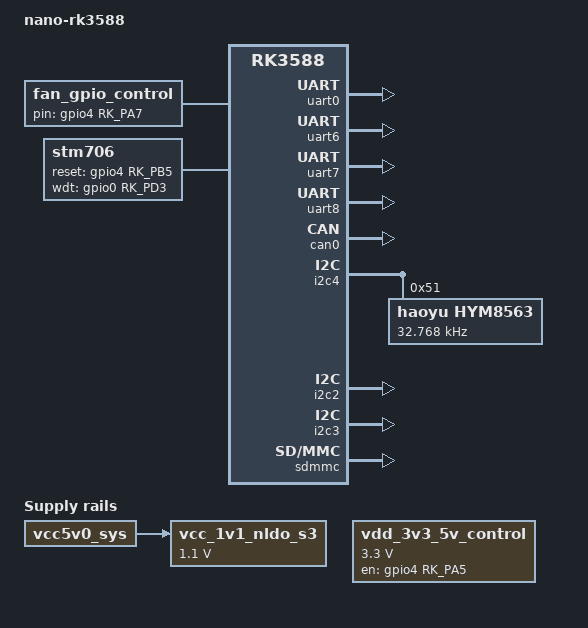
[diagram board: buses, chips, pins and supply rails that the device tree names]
/* board base */
//#include "../rk3588-evb4-lp4-v10-linux.dts"
#include "rp-rk3588-board.dtsi"

#include "rp-tp-i2c6-gt911.dtsi"
#include "rd-rk3588-lcd-gpio.dtsi"
#include "rpdzkj_config.dtsi"

/* usb */
#include "rp-usb-typea-rk3588.dtsi"
#include "rp-usb-host.dtsi"

/* ethernet */
#include "rp-eth-pcie2gmac-rk3588.dtsi"
#include "rp-eth-gmac1.dtsi"

/* pcie */
#include "rp-pcie-power-rk3588.dtsi"
#include "rp-pcie-m2.dtsi"

/* audio */
#include "rp-audio-es8311.dtsi"

/* wifi/bt */
#include "rp-wifi-bt-ap6275p-rk3588.dtsi"

/* hdmi rx */
#include "rp-hdmirx.dtsi"

/* camera */
//#include "rp-camera-dual-ov13855.dtsi"


//#include "rp-lcd-hdmi0.dtsi"        //batch ignore
//#include "rp-lcd-hdmi1.dtsi"          //batch ignore
#include "rp-lcd-multi-hdmi0-hdmi1-dp0.dtsi"

/* lcd */
//#include "rp-lcd-mipi0-5-720-1280-v2-boxTP.dtsi"
//#include "rp-lcd-mipi0-7-720-1280.dtsi"
//#include "rp-lcd-mipi0-8-800-1280-v3.dtsi"
//#include "rp-lcd-mipi0-8-1200-1920.dtsi"
//#include "rp-lcd-mipi0-10-800-1280-v3.dtsi"
//#include "rp-lcd-mipi0-10-1200-1920.dtsi"
//#include "rp-lcd-mipi0-10-1920-1200-jc.dtsi"
//#include "rp-lcd-mipi1-gm8775-lvds-10.1-1024-600.dtsi"
//#include "rp-lcd-mipi1-gm8775-lvds-21-1920-1080.dtsi"

/* quadplex lcd */
//#include "rp-lcd-quadplex-mipi0-5-720-1280-v2-boxTP-mipi1-gm8775-lvds-10.1-1024-600-hdmi0-hdmi1.dtsi"

/ {
    model = "nano-rk3588";
    compatible = "rpdzkj,nano-rk3588", "rockchip,rk3588";

    reserved-memory {
        #address-cells = <2>;
        #size-cells = <2>;
        ranges;
        dma_trans: dma-trans@3c000000 {
            reg = <0x0 0x3c000000 0x0 0x04000000>;
        };
    };

    vcc_1v1_nldo_s3: vcc-1v1-nldo-s3 {
        compatible = "regulator-fixed";
        regulator-name = "vcc_1v1_nldo_s3";
        regulator-always-on;
        regulator-boot-on;
        regulator-min-microvolt = <1100000>;
        regulator-max-microvolt = <1100000>;
        vin-supply = <&vcc5v0_sys>;
    };


    vdd_3v3_5v_control: vdd_3v3_5v_control {
                compatible = "regulator-fixed";
                regulator-name = "vdd_3v3_5v_control";
        regulator-always-on;
                regulator-boot-on;
                regulator-min-microvolt = <3300000>;
                regulator-max-microvolt = <3300000>;
                enable-active-high;
        gpio = <&gpio4 RK_PA5 GPIO_ACTIVE_HIGH>;    //In the uboot phase fixed.c resolves gpio
                gpios = <&gpio4 RK_PA5 GPIO_ACTIVE_HIGH>;
        pinctrl-names = "default";
        pinctrl-0 = <&vdd_control>;         
        };

	fan_gpio_control {
            compatible = "fan_gpio_control";
            gpio-pin = <&gpio4 RK_PA7 GPIO_ACTIVE_HIGH>;
            thermal-zone = "soc-thermal";
            threshold-temp = <60000>; //60C
            running-time = <10000>; //10s
            status = "okay";
        };
	

        rp_power{
                status = "okay";
                compatible = "rp_power";
                rp_not_deep_sleep = <1>;

//#define GPIO_FUNCTION_OUTPUT 0
//#define GPIO_FUNCTION_INPUT 1
//#define GPIO_FUNCTION_IRQ 2
//#define GPIO_FUNCTION_FLASH 3
//#define GPIO_FUNCTION_OUTPUT_CTRL 4

                //fan {   
                //        gpio_num = <&gpio4 RK_PA7 GPIO_ACTIVE_HIGH>;
                //        gpio_function = <4>;
                //};

                led {  
                        gpio_num = <&gpio4 RK_PA6 GPIO_ACTIVE_HIGH>;
                        gpio_function = <3>;
                };

                usb-host-power {  
                        gpio_num = <&gpio2 RK_PC1 GPIO_ACTIVE_HIGH>;
                        gpio_function = <4>;
                };

                otg-power {
                      gpio_num = <&gpio1 RK_PA2 GPIO_ACTIVE_HIGH>;
                      gpio_function = <4>;
                };
 
                usb-hub-reset {  
                        gpio_num = <&gpio3 RK_PB2 GPIO_ACTIVE_HIGH>;
                        gpio_function = <4>;
                };
        
        vdd-4g {   //4g enable
            gpio_num = <&gpio3 RK_PD4 GPIO_ACTIVE_HIGH>;
            gpio_function = <4>;
        };
        
        VDD_USB2_0 {
            gpio_num = <&gpio1 RK_PB1 GPIO_ACTIVE_HIGH>;
                        gpio_function = <4>;
        };

        VDD_USB2_1 {
                        gpio_num = <&gpio1 RK_PB2 GPIO_ACTIVE_HIGH>;
                        gpio_function = <4>;
                };
        
        spk_en {       //spk enable
                        gpio_num = <&gpio4 RK_PB6 GPIO_ACTIVE_HIGH>;
                        gpio_function = <4>;
                };
                spk_mute {       //spk mute
                        gpio_num = <&gpio4 RK_PB4 GPIO_ACTIVE_LOW>;
                        gpio_function = <4>;
                };     
    };

        rp_gpio{
                status = "okay";
                compatible = "rp_gpio";

                gpio4b2 {
                  gpio_num = <&gpio4 RK_PB2 GPIO_ACTIVE_HIGH>;
                  gpio_function = <0>;
                };

                gpio4b3 {
                  gpio_num = <&gpio4 RK_PB3 GPIO_ACTIVE_HIGH>;
                  gpio_function = <0>;
                };

        vdd5v_uart {    
            gpio_num = <&gpio2 RK_PB6 GPIO_ACTIVE_HIGH>;
                        gpio_function = <0>;        
        };
        
        vdd3v3_uart {
            gpio_num = <&gpio1 RK_PC6 GPIO_ACTIVE_HIGH>;
                        gpio_function = <0>;
        };
        };
    
    stm706 {
                status = "okay";
                compatible = "stm706";
                reset_gpio = <&gpio4 RK_PB5 GPIO_ACTIVE_HIGH>;
                wdt_gpio = <&gpio0 RK_PD3 GPIO_ACTIVE_HIGH>;
		pinctrl-names = "default";
                pinctrl-0 = <&stm706_rst>;
        };

};

&pinctrl {
    power_control{
        vdd_control: vdd_control {
            rockchip,pins = <4 RK_PA5 RK_FUNC_GPIO &pcfg_pull_up>;
        };
    };

    stm706_pin_group {
        stm706_rst: stm706-rst {
            rockchip,pins = <0 RK_PD3 RK_FUNC_GPIO &pcfg_pull_down>;
        };
    };

};

&vcc3v3_pcie30 {
    gpios = <&gpio4 RK_PA4 GPIO_ACTIVE_HIGH>;
};

&uart0 {
    status = "okay";
    pinctrl-names = "default";
    pinctrl-0 = <&uart0m0_xfer>;
};

                         

/*uart6 > RS485*/
&uart6 {
    status = "okay";
    pinctrl-names = "default";
    pinctrl-0 = <&uart6m0_xfer>;
};

&uart7 {
    status = "okay";
    pinctrl-names = "default";
    pinctrl-0 = <&uart7m1_xfer>;
};

&uart8 {
    status = "okay";
    pinctrl-names = "default";
    pinctrl-0 = <&uart8m0_xfer>;
};

&can0 {
    assigned-clocks = <&cru CLK_CAN0>;
    assigned-clock-rates = <200000000>;
    status = "okay";
    pinctrl-names = "default";
    pinctrl-0 = <&can0m0_pins>;
};

&i2c4 {
    status = "okay";
    pinctrl-names = "default";
    pinctrl-0 = <&i2c4m1_xfer>;

    hym8563: hym8563@51 {
        compatible = "haoyu,hym8563";
        reg = <0x51>;
        #clock-cells = <0>;
        clock-frequency = <32768>;
        clock-output-names = "hym8563";
        //pinctrl-names = "default";
        //pinctrl-0 = <&hym8563_int>;
        //interrupt-parent = <&gpio0>;
        //interrupts = <RK_PD4 IRQ_TYPE_LEVEL_LOW>;
        //wakeup-source;
    };

};


&i2c2 {
        status = "okay";
        pinctrl-names = "default";
        pinctrl-0 = <&i2c2m4_xfer>;
};

&i2c3 {
        status = "okay";
        pinctrl-names = "default";
        pinctrl-0 = <&i2c3m0_xfer>;
};

&sdmmc {
    status = "okay";
    //vmmc-supply = <&vccio_sd_s0>;
};

&fiq_debugger {
    rockchip,baudrate = <115200>;
};

&display_subsystem {
clocks = <&hdptxphy_hdmi_clk0>, <&hdptxphy_hdmi_clk1>;
clock-names = "hdmi0_phy_pll", "hdmi1_phy_pll";
};

&hdptxphy_hdmi_clk0 {
            status = "okay";
};

&hdptxphy_hdmi_clk1 {
            status = "okay";
};
